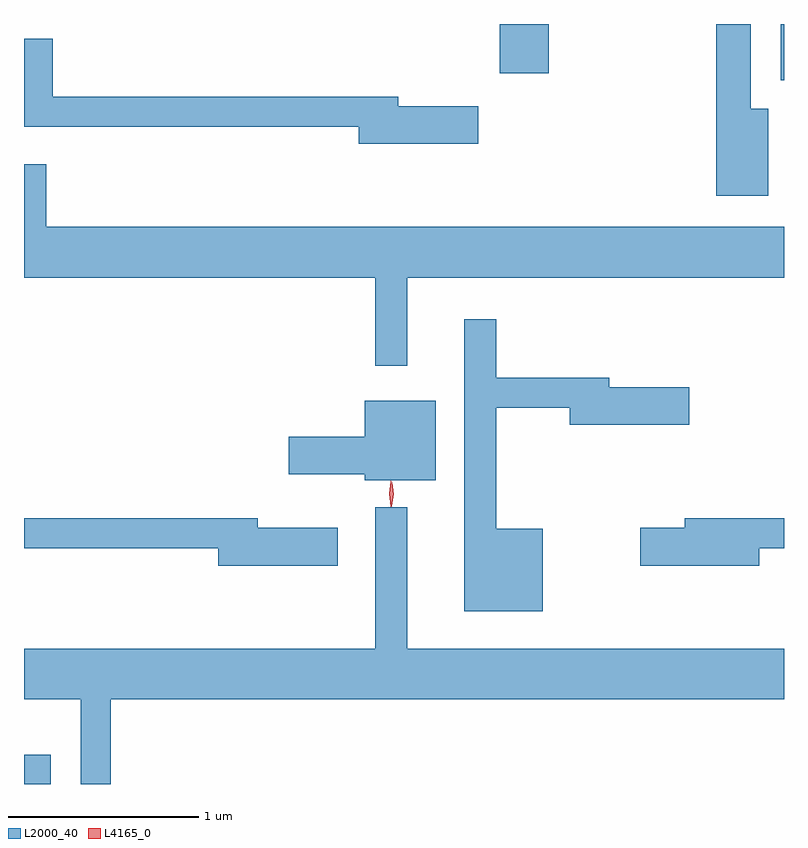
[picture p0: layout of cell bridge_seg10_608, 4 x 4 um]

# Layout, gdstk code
import gdstk
lib = gdstk.Library(unit=1e-6, precision=1e-09)
def R(c, l, rs):  # rectangles x0, y0, x1, y1
    for r in rs: c.add(gdstk.rectangle(r[:2], r[2:], *l))
def P(c, l, *ps):  # polygons
    for p in ps: c.add(gdstk.Polygon(p, *l))
L2000_40 = (2000, 40)
L4165_0 = (4165, 0)

bridge_seg10_608 = lib.new_cell('bridge_seg10_608')
R(bridge_seg10_608, L2000_40, [(647.883,2131.231,648.024,2131.384), (651.866,2134.936,651.883,2135.231), (650.386,2134.971,650.644,2135.231)])
P(bridge_seg10_608, L2000_40, [(651.799,2134.784),(651.709,2134.784),(651.709,2135.231),(651.526,2135.231),(651.526,2134.326),(651.799,2134.326)],
  [(650.274,2134.799),(649.854,2134.799),(649.854,2134.849),(648.034,2134.849),(648.034,2135.154),(647.883,2135.154),(647.883,2134.691),(649.646,2134.691),(649.646,2134.601),(650.274,2134.601)],
  [(649.899,2133.896),(651.883,2133.896),(651.883,2134.164),(647.999,2134.164),(647.999,2134.494),(647.883,2134.494),(647.883,2133.896),(649.731,2133.896),(649.731,2133.433),(649.899,2133.433)],
  [(650.614,2132.574),(650.369,2132.574),(650.369,2133.211),(650.756,2133.211),(650.756,2133.121),(651.384,2133.121),(651.384,2133.319),(650.964,2133.319),(650.964,2133.369),(650.369,2133.369),(650.369,2133.678),(650.201,2133.678),(650.201,2132.141),(650.614,2132.141)],
  [(650.049,2133.249),(649.676,2133.249),(649.676,2133.059),(649.276,2133.059),(649.276,2132.861),(649.676,2132.861),(649.676,2132.831),(650.049,2132.831)],
  [(648.339,2131.676),(651.883,2131.676),(651.883,2131.944),(649.899,2131.944),(649.899,2132.688),(649.731,2132.688),(649.731,2131.944),(647.883,2131.944),(647.883,2131.676),(648.181,2131.676),(648.181,2131.231),(648.339,2131.231)],
  [(649.534,2132.579),(649.114,2132.579),(649.114,2132.629),(647.883,2132.629),(647.883,2132.471),(648.906,2132.471),(648.906,2132.381),(649.534,2132.381)],
  [(651.754,2132.471),(651.883,2132.471),(651.883,2132.629),(651.361,2132.629),(651.361,2132.579),(651.126,2132.579),(651.126,2132.381),(651.754,2132.381)])
P(bridge_seg10_608, L4165_0, [(649.818,2132.693),(649.818,2132.693),(649.809,2132.756),(649.82,2132.82),(649.821,2132.82),(649.821,2132.82),(649.83,2132.756),(649.819,2132.693)],
  [(649.815,2132.689),(649.814,2132.69),(649.805,2132.758),(649.814,2132.825),(649.814,2132.826),(649.815,2132.825),(649.824,2132.758),(649.816,2132.69)])

lib.write_gds('bridge_seg10_608.gds')
